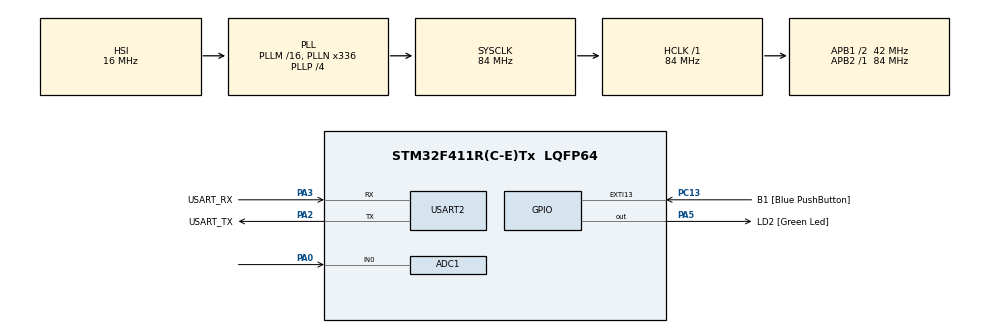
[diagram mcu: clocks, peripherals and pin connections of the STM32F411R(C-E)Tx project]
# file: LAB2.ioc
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ADC1.Channel-0\#ChannelRegularConversion=ADC_CHANNEL_0
ADC1.Channel-1\#ChannelRegularConversion=ADC_CHANNEL_TEMPSENSOR
ADC1.ContinuousConvMode=ENABLE
ADC1.DMAContinuousRequests=ENABLE
ADC1.NbrOfConversion=2
ADC1.NbrOfConversionFlag=1
ADC1.Rank-0\#ChannelRegularConversion=1
ADC1.Rank-1\#ChannelRegularConversion=2
ADC1.SamplingTime-0\#ChannelRegularConversion=ADC_SAMPLETIME_56CYCLES
ADC1.SamplingTime-1\#ChannelRegularConversion=ADC_SAMPLETIME_56CYCLES
ADC1.ScanConvMode=ENABLE
ADC1.master=1
Dma.ADC1.0.Direction=DMA_PERIPH_TO_MEMORY
Dma.ADC1.0.FIFOMode=DMA_FIFOMODE_DISABLE
Dma.ADC1.0.Instance=DMA2_Stream0
Dma.ADC1.0.MemDataAlignment=DMA_MDATAALIGN_HALFWORD
Dma.ADC1.0.MemInc=DMA_MINC_ENABLE
Dma.ADC1.0.Mode=DMA_CIRCULAR
Dma.ADC1.0.PeriphDataAlignment=DMA_PDATAALIGN_HALFWORD
Dma.ADC1.0.PeriphInc=DMA_PINC_DISABLE
Dma.ADC1.0.Priority=DMA_PRIORITY_LOW
Dma.Request0=ADC1
Mcu.Family=STM32F4
Mcu.Name=STM32F411R(C-E)Tx
Mcu.Package=LQFP64
NVIC.ADC_IRQn=true\:0\:0\:false\:false\:true\:true\:true\:true
NVIC.DMA2_Stream0_IRQn=true\:0\:0\:false\:false\:true\:false\:true\:true
NVIC.PriorityGroup=NVIC_PRIORITYGROUP_0
PA0-WKUP.Signal=ADCx_IN0
PA13.GPIO_Label=TMS
PA13.Mode=Serial_Wire
PA13.Signal=SYS_JTMS-SWDIO
PA14.GPIO_Label=TCK
PA14.Mode=Serial_Wire
PA14.Signal=SYS_JTCK-SWCLK
PA2.GPIO_Label=USART_TX
PA2.Mode=Asynchronous
PA2.Signal=USART2_TX
PA3.GPIO_Label=USART_RX
PA3.Mode=Asynchronous
PA3.Signal=USART2_RX
PA5.GPIO_Label=LD2 [Green Led]
PA5.Signal=GPIO_Output
PB3.GPIO_Label=SWO
PB3.Signal=SYS_JTDO-SWO
PC13-ANTI_TAMP.GPIO_Label=B1 [Blue PushButton]
PC13-ANTI_TAMP.GPIO_ModeDefaultEXTI=GPIO_MODE_IT_FALLING
PC13-ANTI_TAMP.Signal=GPXTI13
PC14-OSC32_IN.Mode=LSE-External-Oscillator
PC14-OSC32_IN.Signal=RCC_OSC32_IN
PC15-OSC32_OUT.Mode=LSE-External-Oscillator
PC15-OSC32_OUT.Signal=RCC_OSC32_OUT
PH0\ -\ OSC_IN.Mode=HSE-External-Clock-Source
PH0\ -\ OSC_IN.Signal=RCC_OSC_IN
PH1\ -\ OSC_OUT.Mode=HSE-External-Clock-Source
PH1\ -\ OSC_OUT.Signal=RCC_OSC_OUT
ProjectManager.HeapSize=0x200
ProjectManager.StackSize=0x400
ProjectManager.TargetToolchain=STM32CubeIDE
RCC.48MHZClocksFreq_Value=84000000
RCC.AHBFreq_Value=84000000
RCC.APB1CLKDivider=RCC_HCLK_DIV2
RCC.APB1Freq_Value=42000000
RCC.APB1TimFreq_Value=84000000
RCC.APB2Freq_Value=84000000
RCC.APB2TimFreq_Value=84000000
RCC.CortexFreq_Value=84000000
RCC.FLatency-AdvancedSettings=FLASH_LATENCY_2
RCC.HCLKFreq_Value=84000000
RCC.HSE_VALUE=8000000
RCC.HSI_VALUE=16000000
RCC.PLLN=336
RCC.PLLP=RCC_PLLP_DIV4
RCC.SYSCLKFreq_VALUE=84000000
RCC.SYSCLKSource=RCC_SYSCLKSOURCE_PLLCLK
RCC.VCOOutputFreq_Value=336000000
SH.ADCx_IN0.0=ADC1_IN0,IN0
USART2.VirtualMode=VM_ASYNC
VP_ADC1_TempSens_Input.Mode=IN-TempSens
board=NUCLEO-F411RE

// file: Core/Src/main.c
/* USER CODE BEGIN Header */
//LAB2

/**
  ******************************************************************************
  * @file           : main.c
  * @brief          : Main program body
  ******************************************************************************
  * @attention
  *
  * Copyright (c) 2023 STMicroelectronics.
  * All rights reserved.
  *
  * This software is licensed under terms that can be found in the LICENSE file
  * in the root directory of this software component.
  * If no LICENSE file comes with this software, it is provided AS-IS.
  *
  ******************************************************************************
  */
/* USER CODE END Header */
#include "main.h"

ADC_HandleTypeDef hadc1;
DMA_HandleTypeDef hdma_adc1;

UART_HandleTypeDef huart2;

/* USER CODE BEGIN PV */

//uint32_t ADC_RawData;
//typedef struct
//{
//	ADC_ChannelConfTypeDef Config;
//	uint16_t data;
//}ADCStructure;
//
//ADCStructure ADCChannel[1];
uint32_t avr_temp = 0,avr_volt = 0;
uint32_t sum_temp = 0,sum_volt = 0;
float real_volt = 0, real_temp = 0;
typedef struct
{
	uint16_t temp;
	uint16_t volt;
}adcDMAStructure;

adcDMAStructure buffer[10];

/* USER CODE END PV */

void SystemClock_Config(void);
static void MX_GPIO_Init(void);
static void MX_DMA_Init(void);
static void MX_USART2_UART_Init(void);
static void MX_ADC1_Init(void);

int main(void)
{

  /* MCU Configuration--------------------------------------------------------*/

  /* Reset of all peripherals, Initializes the Flash interface and the Systick. */
  HAL_Init();

  /* Configure the system clock */
  SystemClock_Config();

  /* Initialize all configured peripherals */
  MX_GPIO_Init();
  MX_DMA_Init();
  MX_USART2_UART_Init();
  MX_ADC1_Init();
  /* USER CODE BEGIN 2 */
  HAL_ADC_Start_IT (&hadc1);
  HAL_ADC_Start_DMA(&hadc1 , (uint32_t*)buffer, 50);
  /* USER CODE END 2 */

  /* Infinite loop */
  while (1)
  {

    /* USER CODE BEGIN 3 */
	  for(uint16_t i = 0 ; i < 10 ; i++)
	  	{
	  		if(i == 9)
	  		{
	  			sum_temp = (buffer[i].temp+sum_temp);
	  			sum_volt = (buffer[i].volt+sum_volt);
	  			avr_temp = sum_temp/10;
	  			avr_volt = sum_volt/10;
	  		}
	  		else if(i == 0)
	  		{
	  			sum_temp = 0;
	  			sum_volt = 0;
	  			sum_temp = (buffer[i].temp+sum_temp);
	  			sum_volt = (buffer[i].volt+sum_volt);
	  		}
	  		else
	  		{
	  			sum_temp = (buffer[i].temp+sum_temp);
	  			sum_volt = (buffer[i].volt+sum_volt);
	  		}
	  	}
	  real_volt = (avr_volt*1.65); //resolution = 5/2960 = 1.6 mV/bit
	  real_temp = (avr_temp*0.313); //Kelvin = ongsa+273
	  //temp resolution (23+273)/945 = 0.313

  }
  /* USER CODE END 3 */
}

void SystemClock_Config(void)
{
  RCC_OscInitTypeDef RCC_OscInitStruct = {0};
  RCC_ClkInitTypeDef RCC_ClkInitStruct = {0};

  /** Configure the main internal regulator output voltage
  */
  __HAL_RCC_PWR_CLK_ENABLE();
  __HAL_PWR_VOLTAGESCALING_CONFIG(PWR_REGULATOR_VOLTAGE_SCALE1);

  /** Initializes the RCC Oscillators according to the specified parameters
  * in the RCC_OscInitTypeDef structure.
  */
  RCC_OscInitStruct.OscillatorType = RCC_OSCILLATORTYPE_HSI;
  RCC_OscInitStruct.HSIState = RCC_HSI_ON;
  RCC_OscInitStruct.HSICalibrationValue = RCC_HSICALIBRATION_DEFAULT;
  RCC_OscInitStruct.PLL.PLLState = RCC_PLL_ON;
  RCC_OscInitStruct.PLL.PLLSource = RCC_PLLSOURCE_HSI;
  RCC_OscInitStruct.PLL.PLLM = 16;
  RCC_OscInitStruct.PLL.PLLN = 336;
  RCC_OscInitStruct.PLL.PLLP = RCC_PLLP_DIV4;
  RCC_OscInitStruct.PLL.PLLQ = 4;
  if (HAL_RCC_OscConfig(&RCC_OscInitStruct) != HAL_OK)
  {
    Error_Handler();
  }

  /** Initializes the CPU, AHB and APB buses clocks
  */
  RCC_ClkInitStruct.ClockType = RCC_CLOCKTYPE_HCLK|RCC_CLOCKTYPE_SYSCLK
                              |RCC_CLOCKTYPE_PCLK1|RCC_CLOCKTYPE_PCLK2;
  RCC_ClkInitStruct.SYSCLKSource = RCC_SYSCLKSOURCE_PLLCLK;
  RCC_ClkInitStruct.AHBCLKDivider = RCC_SYSCLK_DIV1;
  RCC_ClkInitStruct.APB1CLKDivider = RCC_HCLK_DIV2;
  RCC_ClkInitStruct.APB2CLKDivider = RCC_HCLK_DIV1;

  if (HAL_RCC_ClockConfig(&RCC_ClkInitStruct, FLASH_LATENCY_2) != HAL_OK)
  {
    Error_Handler();
  }
}

static void MX_ADC1_Init(void)
{

  ADC_ChannelConfTypeDef sConfig = {0};

  /** Configure the global features of the ADC (Clock, Resolution, Data Alignment and number of conversion)
  */
  hadc1.Instance = ADC1;
  hadc1.Init.ClockPrescaler = ADC_CLOCK_SYNC_PCLK_DIV4;
  hadc1.Init.Resolution = ADC_RESOLUTION_12B;
  hadc1.Init.ScanConvMode = ENABLE;
  hadc1.Init.ContinuousConvMode = ENABLE;
  hadc1.Init.DiscontinuousConvMode = DISABLE;
  hadc1.Init.ExternalTrigConvEdge = ADC_EXTERNALTRIGCONVEDGE_NONE;
  hadc1.Init.ExternalTrigConv = ADC_SOFTWARE_START;
  hadc1.Init.DataAlign = ADC_DATAALIGN_RIGHT;
  hadc1.Init.NbrOfConversion = 2;
  hadc1.Init.DMAContinuousRequests = ENABLE;
  hadc1.Init.EOCSelection = ADC_EOC_SINGLE_CONV;
  if (HAL_ADC_Init(&hadc1) != HAL_OK)
  {
    Error_Handler();
  }

  /** Configure for the selected ADC regular channel its corresponding rank in the sequencer and its sample time.
  */
  sConfig.Channel = ADC_CHANNEL_0;
  sConfig.Rank = 1;
  sConfig.SamplingTime = ADC_SAMPLETIME_56CYCLES;
  if (HAL_ADC_ConfigChannel(&hadc1, &sConfig) != HAL_OK)
  {
    Error_Handler();
  }

  /** Configure for the selected ADC regular channel its corresponding rank in the sequencer and its sample time.
  */
  sConfig.Channel = ADC_CHANNEL_TEMPSENSOR;
  sConfig.Rank = 2;
  if (HAL_ADC_ConfigChannel(&hadc1, &sConfig) != HAL_OK)
  {
    Error_Handler();
  }

}

static void MX_USART2_UART_Init(void)
{

  huart2.Instance = USART2;
  huart2.Init.BaudRate = 115200;
  huart2.Init.WordLength = UART_WORDLENGTH_8B;
  huart2.Init.StopBits = UART_STOPBITS_1;
  huart2.Init.Parity = UART_PARITY_NONE;
  huart2.Init.Mode = UART_MODE_TX_RX;
  huart2.Init.HwFlowCtl = UART_HWCONTROL_NONE;
  huart2.Init.OverSampling = UART_OVERSAMPLING_16;
  if (HAL_UART_Init(&huart2) != HAL_OK)
  {
    Error_Handler();
  }

}

static void MX_DMA_Init(void)
{

  /* DMA controller clock enable */
  __HAL_RCC_DMA2_CLK_ENABLE();

  /* DMA interrupt init */
  /* DMA2_Stream0_IRQn interrupt configuration */
  HAL_NVIC_SetPriority(DMA2_Stream0_IRQn, 0, 0);
  HAL_NVIC_EnableIRQ(DMA2_Stream0_IRQn);

}

static void MX_GPIO_Init(void)
{
  GPIO_InitTypeDef GPIO_InitStruct = {0};

  /* GPIO Ports Clock Enable */
  __HAL_RCC_GPIOC_CLK_ENABLE();
  __HAL_RCC_GPIOH_CLK_ENABLE();
  __HAL_RCC_GPIOA_CLK_ENABLE();
  __HAL_RCC_GPIOB_CLK_ENABLE();

  /*Configure GPIO pin Output Level */
  HAL_GPIO_WritePin(LD2_GPIO_Port, LD2_Pin, GPIO_PIN_RESET);

  /*Configure GPIO pin : B1_Pin */
  GPIO_InitStruct.Pin = B1_Pin;
  GPIO_InitStruct.Mode = GPIO_MODE_IT_FALLING;
  GPIO_InitStruct.Pull = GPIO_NOPULL;
  HAL_GPIO_Init(B1_GPIO_Port, &GPIO_InitStruct);

  /*Configure GPIO pin : LD2_Pin */
  GPIO_InitStruct.Pin = LD2_Pin;
  GPIO_InitStruct.Mode = GPIO_MODE_OUTPUT_PP;
  GPIO_InitStruct.Pull = GPIO_NOPULL;
  GPIO_InitStruct.Speed = GPIO_SPEED_FREQ_LOW;
  HAL_GPIO_Init(LD2_GPIO_Port, &GPIO_InitStruct);

}

/* USER CODE BEGIN 4 */

void HAL_GPIO_EXIT_Callback(uint16_t GPIO_Pin)
{
		HAL_ADC_Start_DMA(&hadc1 , (uint32_t*)buffer, 10);
}

void HAL_ADC_ConvCpltCallback(ADC_HandleTypeDef* hadc)
{

}

/* USER CODE END 4 */

void Error_Handler(void)
{
  __disable_irq();
  while (1)
  {
  }
}
